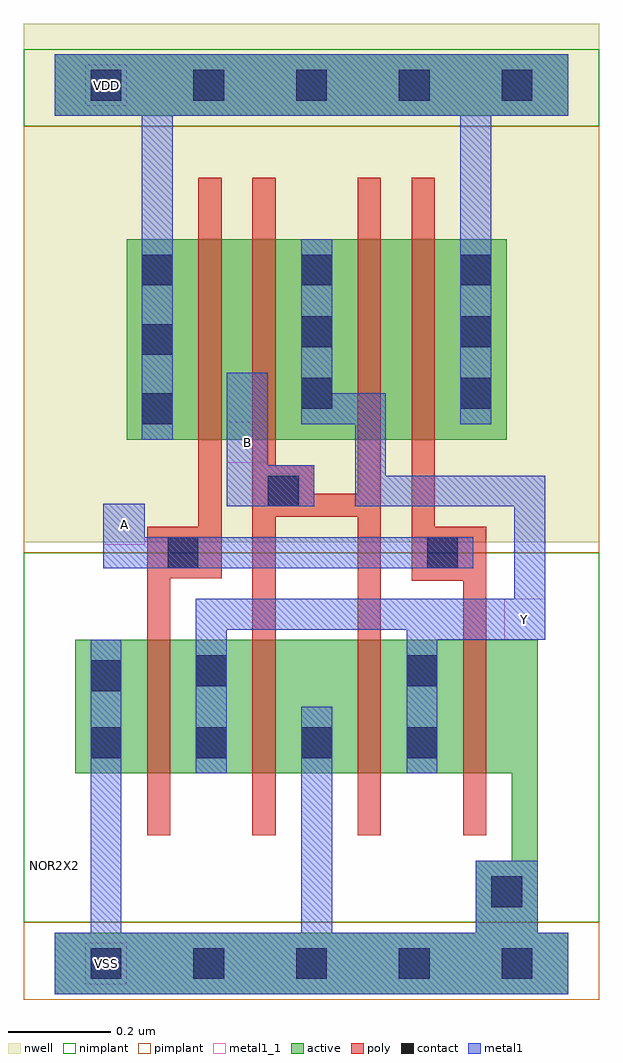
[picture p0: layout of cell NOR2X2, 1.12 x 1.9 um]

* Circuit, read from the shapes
.subckt NOR2X2 A B VDD VSS Y
M1 Y A VSS VSS nfet w=0.26u l=0.045u m=2
M2 VSS B Y VSS nfet w=0.26u l=0.045u m=2
M3 n1 A VDD VDD pfet w=0.39u l=0.045u
M4 Y B n1 VDD pfet w=0.39u l=0.045u
M5 n2 B Y VDD pfet w=0.39u l=0.045u
M6 VDD A n2 VDD pfet w=0.39u l=0.045u
.ends

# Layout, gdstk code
import gdstk
lib = gdstk.Library(unit=1e-6, precision=5e-10)
def R(c, l, rs):  # rectangles x0, y0, x1, y1
    for r in rs: c.add(gdstk.rectangle(r[:2], r[2:], *l))
def A(c, l, x, y, w, h, nx, ny, dx, dy):  # array of equal rectangles
    R(c, l, [(x+i*dx, y+j*dy, x+i*dx+w, y+j*dy+h) for i in range(nx) for j in range(ny)])
def P(c, l, *ps):  # polygons
    for p in ps: c.add(gdstk.Polygon(p, *l))
active = (1, 0)
nwell = (2, 0)
poly = (3, 0)
nimplant = (4, 0)
pimplant = (5, 0)
contact = (6, 0)
metal1 = (7, 0)
metal1_1 = (7, 1)

nor2x2 = lib.new_cell('NOR2X2')
R(nor2x2, active, [(0.14,1.02,0.88,1.41), (0,1.65,1,1.77)])
P(nor2x2, active, [(1,0.06),(0.94,0.06),(0.94,0.63),(0.04,0.63),(0.04,0.37),(0.89,0.37),(0.89,0.2),(0.82,0.2),(0.82,0.06),(0,0.06),(0,-0.06),(1,-0.06)])
R(nor2x2, nwell, [(-0.06,0.82,1.06,1.83)])
P(nor2x2, poly, [(0.84,0.85),(0.74,0.85),(0.74,1.53),(0.695,1.53),(0.695,0.745),(0.795,0.745),(0.795,0.25),(0.84,0.25)],
  [(0.635,1.53),(0.59,1.53),(0.59,0.915),(0.505,0.915),(0.505,0.97),(0.43,0.97),(0.43,1.53),(0.385,1.53),(0.385,0.25),(0.43,0.25),(0.43,0.87),(0.59,0.87),(0.59,0.25),(0.635,0.25)],
  [(0.325,1.53),(0.28,1.53),(0.28,0.85),(0.18,0.85),(0.18,0.25),(0.225,0.25),(0.225,0.75),(0.325,0.75)])
R(nor2x2, nimplant, [(-0.06,0.08,1.06,0.8), (-0.06,1.63,1.06,1.78)])
R(nor2x2, pimplant, [(-0.06,-0.07,1.06,0.08), (-0.06,0.8,1.06,1.63)])
A(nor2x2, contact, 0.07, -0.03, 0.06, 0.06, 5, 2, 0.2, 1.71)
A(nor2x2, contact, 0.07, 0.4, 0.06, 0.06, 4, 1, 0.205, 0)
A(nor2x2, contact, 0.17, 1.32, 0.06, 0.06, 3, 1, 0.31, 0)
R(nor2x2, contact, [(0.85,0.11,0.91,0.17), (0.07,0.53,0.13,0.59), (0.275,0.54,0.335,0.6), (0.685,0.54,0.745,0.6), (0.22,0.77,0.28,0.83), (0.725,0.77,0.785,0.83), (0.415,0.89,0.475,0.95), (0.17,1.05,0.23,1.11), (0.48,1.08,0.54,1.14), (0.79,1.08,0.85,1.14), (0.17,1.185,0.23,1.245), (0.48,1.2,0.54,1.26), (0.79,1.2,0.85,1.26)])
P(nor2x2, metal1, [(1,0.06),(0.94,0.06),(0.94,0.2),(0.82,0.2),(0.82,0.06),(0.54,0.06),(0.54,0.5),(0.48,0.5),(0.48,0.06),(0.13,0.06),(0.13,0.63),(0.07,0.63),(0.07,0.06),(0,0.06),(0,-0.06),(1,-0.06)],
  [(1,1.77),(0,1.77),(0,1.65),(0.17,1.65),(0.17,1.02),(0.23,1.02),(0.23,1.65),(0.79,1.65),(0.79,1.05),(0.85,1.05),(0.85,1.65),(1,1.65)],
  [(0.955,0.95),(0.645,0.95),(0.645,1.11),(0.54,1.11),(0.54,1.41),(0.48,1.41),(0.48,1.05),(0.585,1.05),(0.585,0.89),(0.895,0.89),(0.895,0.71),(0.275,0.71),(0.275,0.37),(0.335,0.37),(0.335,0.65),(0.685,0.65),(0.685,0.37),(0.745,0.37),(0.745,0.63),(0.955,0.63)],
  [(0.815,0.83),(0.175,0.83),(0.175,0.895),(0.095,0.895),(0.095,0.77),(0.815,0.77)],
  [(0.505,0.97),(0.415,0.97),(0.415,1.15),(0.335,1.15),(0.335,0.89),(0.505,0.89)])
R(nor2x2, metal1_1, [(0.06,-0.04,0.14,0.04), (0.875,0.63,0.955,0.71), (0.095,0.815,0.175,0.895), (0.335,0.975,0.415,1.055), (0.06,1.67,0.14,1.75)])
nor2x2.add(gdstk.Label('Y', (0.915,0.67), layer=7, texttype=1))
nor2x2.add(gdstk.Label('B', (0.375,1.015), layer=7, texttype=1))
nor2x2.add(gdstk.Label('A', (0.135,0.855), layer=7, texttype=1))
nor2x2.add(gdstk.Label('VDD', (0.1,1.71), layer=7, texttype=1))
nor2x2.add(gdstk.Label('VSS', (0.1,0), layer=7, texttype=1))
nor2x2.add(gdstk.Label('NOR2X2', (0,0.19), layer=63, texttype=0))

lib.write_gds('NOR2X2.gds')
